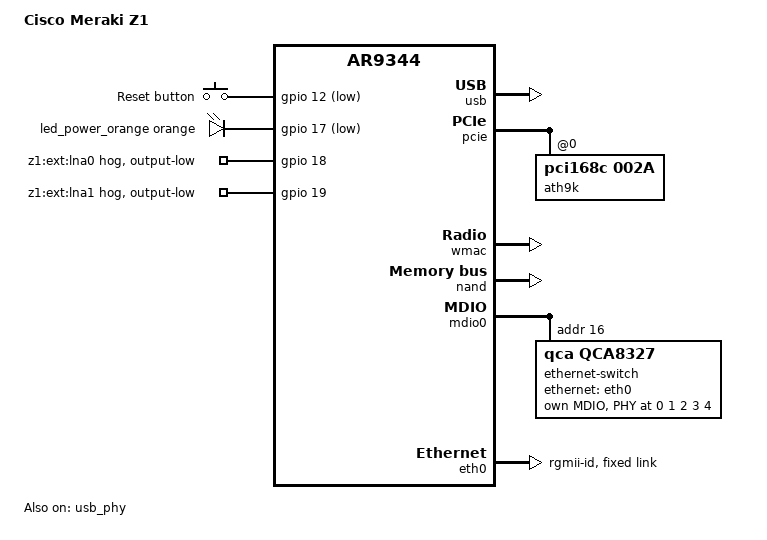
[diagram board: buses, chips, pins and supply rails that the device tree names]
// SPDX-License-Identifier: GPL-2.0-only

#include "ar9344.dtsi"
#include "ar934x_ag71xx.dtsi"

#include <dt-bindings/gpio/gpio.h>
#include <dt-bindings/input/input.h>
#include <dt-bindings/leds/common.h>

/ {
	compatible = "meraki,z1", "qca,ar9344";
	model = "Cisco Meraki Z1";

	aliases {
		led-boot = &led_power_orange;
		led-failsafe = &led_power_orange;
		led-upgrade = &led_power_orange;
		label-mac-device = &eth0;
	};

	chosen {
		bootargs = "console=ttyS0,115200n8";
	};

	keys {
		compatible = "gpio-keys";

		reset {
			label = "Reset button";
			linux,code = <KEY_RESTART>;
			gpios = <&gpio 12 GPIO_ACTIVE_LOW>;
			debounce-interval = <60>;
		};
	};

	leds {
		compatible = "gpio-leds";

		led_power_orange: led-0 {
			function = LED_FUNCTION_POWER;
			color = <LED_COLOR_ID_ORANGE>;
			gpios = <&gpio 17 GPIO_ACTIVE_LOW>;
			default-state = "on";
			panic-indicator;
		};
	};
};

&ref {
	clock-frequency = <40000000>;
};

&gpio {
	pinctrl-names = "default";
	pinctrl-0 = <&jtag_disable_pins>;

	gpio_ext_lna0 {
		gpio-hog;
		gpios = <18 GPIO_ACTIVE_HIGH>;
		output-low;
		line-name = "z1:ext:lna0";
	};

	gpio_ext_lna1 {
		gpio-hog;
		gpios = <19 GPIO_ACTIVE_HIGH>;
		output-low;
		line-name = "z1:ext:lna1";
	};
};

&usb {
	status = "okay";
};

&usb_phy {
	status = "okay";
};

&pcie {
	status = "okay";

	ath9k: wifi@0,0 {
		compatible = "pci168c,002a";
		reg = <0x0000 0 0 0 0>;
		qca,no-eeprom;
		nvmem-cells = <&macaddr_board_66 3>;
		nvmem-cell-names = "mac-address";
	};
};

&wmac {
	status = "okay";
	qca,no-eeprom;

	nvmem-cells = <&macaddr_board_66 2>;
	nvmem-cell-names = "mac-address";
};

&nand {
	status = "okay";

	nand-ecc-mode = "soft";
	nand-ecc-algo = "bch";
	nand-ecc-strength = <4>;
	nand-ecc-step-size = <512>;
	nand-is-boot-medium;

	partitions {
		compatible = "fixed-partitions";
		#address-cells = <1>;
		#size-cells = <1>;

		partition@0 {
			label = "loader1";
			reg = <0x0 0x20000>;
			read-only;
		};

		partition@20000 {
			label = "kernel";
			reg = <0x20000 0x7e0000>;
		};

		partition@800000 {
			label = "loader2";
			reg = <0x800000 0x20000>;
			read-only;
		};

		partition@820000 {
			label = "recovery";
			reg = <0x820000 0x7e0000>;
		};

		partition@1000000 {
			label = "ubi";
			reg = <0x1000000 0x6fe0000>;

			volumes {
				ubi-volume-board-config {
					volname = "board-config";

					nvmem-layout {
						compatible = "fixed-layout";
						#address-cells = <1>;
						#size-cells = <1>;

						macaddr_board_66: macaddr@66 {
							compatible = "mac-base";
							reg = <0x66 0x6>;
							#nvmem-cell-cells = <1>;
						};
					};
				};
			};
		};

		partition@7fe0000 {
			label = "origcaldata";
			reg = <0x7fe0000 0x20000>;
			read-only;
		};
	};
};

&mdio0 {
	status = "okay";

	ethernet-switch@10 {
		compatible = "qca,qca8327";
		#address-cells = <1>;
		#size-cells = <0>;
		reg = <0x10>;

		ethernet-ports {
			#address-cells = <1>;
			#size-cells = <0>;

			ethernet-port@0 {
				reg = <0>;
				ethernet = <&eth0>;
				phy-mode = "rgmii-id";

				fixed-link {
					speed = <1000>;
					full-duplex;
				};
			};

			ethernet-port@1 {
				reg = <1>;
				label = "lan1";
				phy-mode = "internal";
				phy-handle = <&phy_port1>;
			};

			ethernet-port@2 {
				reg = <2>;
				label = "lan2";
				phy-mode = "internal";
				phy-handle = <&phy_port2>;
			};

			ethernet-port@3 {
				reg = <3>;
				label = "lan3";
				phy-mode = "internal";
				phy-handle = <&phy_port3>;
			};

			ethernet-port@4 {
				reg = <4>;
				label = "lan4";
				phy-mode = "internal";
				phy-handle = <&phy_port4>;
			};

			ethernet-port@5 {
				reg = <5>;
				label = "wan";
				phy-mode = "internal";
				phy-handle = <&phy_port5>;
			};
		};

		mdio {
			#address-cells = <1>;
			#size-cells = <0>;

			phy_port1: ethernet-phy@0 {
				reg = <0>;
			};

			phy_port2: ethernet-phy@1 {
				reg = <1>;
			};

			phy_port3: ethernet-phy@2 {
				reg = <2>;
			};

			phy_port4: ethernet-phy@3 {
				reg = <3>;
			};

			phy_port5: ethernet-phy@4 {
				reg = <4>;
			};
		};
	};
};

&eth0 {
	status = "okay";

	qca,gmac = <&gmac>;
	qca,pll = <&pll>;
	tx-internal-delay-ps = <800>;

	phy-mode = "rgmii-id";
	nvmem-cells = <&macaddr_board_66 0>;
	nvmem-cell-names = "mac-address";

	fixed-link {
		speed = <1000>;
		full-duplex;
	};
};
